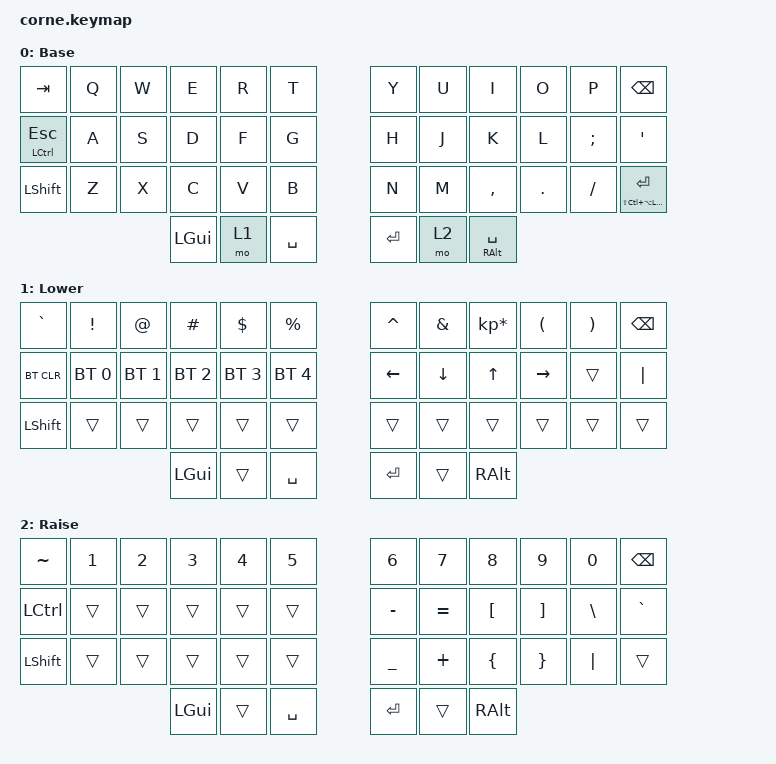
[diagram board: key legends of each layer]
/*
 * Copyright (c) 2020 The ZMK Contributors
 *
 * SPDX-License-Identifier: MIT
 */

#include <behaviors.dtsi>
#include <dt-bindings/zmk/keys.h>
#include <dt-bindings/zmk/bt.h>

#define HYP LS(LC(LA(LGUI)))

/ {
        keymap {
                compatible = "zmk,keymap";

                default_layer {
// -----------------------------------------------------------------------------------------
// |  TAB |  Q  |  W  |  E  |  R  |  T  |   |  Y  |  U   |  I  |  O  |  P  | BKSP     |
// | CTRL |  A  |  S  |  D  |  F  |  G  |   |  H  |  J   |  K  |  L  |  ;  |  '       |
// | SHFT |  Z  |  X  |  C  |  V  |  B  |   |  N  |  M   |  ,  |  .  |  /  | ENT/HYP  |
//                    | GUI | LWR | SPC |   | ENT | RSE  | ALT |
                        label = "Base";
                        bindings = <
   &kp TAB   &kp Q &kp W &kp E &kp R &kp T   &kp Y &kp U  &kp I     &kp O   &kp P    &kp BSPC
   &mt LCTRL ESC &kp A &kp S &kp D &kp F &kp G   &kp H &kp J  &kp K     &kp L   &kp SEMI &kp SQT
   &kp LSHFT &kp Z &kp X &kp C &kp V &kp B   &kp N &kp M  &kp COMMA &kp DOT &kp FSLH &mt HYP RET
                 &kp LGUI &mo 1 &kp SPACE   &kp RET &mo 2 &mt RALT SPACE
                        >;
                };
                lower_layer {
// -----------------------------------------------------------------------------------------
// |   `  |  !  |  @  |  #  |  $  |  %  |   |  ^  |  &  |  *  |  (  |  )  | BKSP |
// | BTCLR| BT1 | BT2 | BT3 | BT4 | BT5 |   | LFT | DWN |  UP | RGT |     |  "|" |
// | SHFT |     |     |     |     |     |   |     |     |     |     |     |      |
//                    | GUI |     | SPC |   | ENT |     | ALT |
                        label = "Lower";
                        bindings = <
   &kp  GRAVE  &kp EXCL &kp AT &kp HASH &kp DLLR &kp PRCNT   &kp CARET &kp AMPS  &kp KP_MULTIPLY &kp LPAR &kp RPAR &kp BSPC
   &bt BT_CLR &bt BT_SEL 0 &bt BT_SEL 1 &bt BT_SEL 2 &bt BT_SEL 3 &bt BT_SEL 4   &kp LEFT &kp DOWN &kp UP &kp RIGHT &trans &kp PIPE
   &kp LSHFT  &trans       &trans       &trans       &trans       &trans         &trans   &trans   &trans &trans    &trans &trans
                          	        &kp LGUI  &trans   &kp SPACE      &kp RET  &trans   &kp RALT
                        >;
                };

                raise_layer {
// -----------------------------------------------------------------------------------------
// |   ~  |  1  |  2  |  3  |  4  |  5  |   |  6  |  7  |  8  |  9  |  0  | BKSP |
// | CTRL |     |     |     |     |     |   |  -  |  =  |  [  |  ]  |  \  |   `  |
// | SHFT |     |     |     |     |     |   |  _  |  +  |  {  |  }  | "|" |      |
//                    | GUI |     | SPC |   | ENT |     | ALT |
                        label = "Raise";
                        bindings = <
   &kp TILDE    &kp N1       &kp N2       &kp N3       &kp N4       &kp N5         &kp N6   &kp N7   &kp N8 &kp N9    &kp N0 &kp BSPC
   &kp LCTRL &trans   &trans &trans   &trans   &trans      &kp MINUS &kp EQUAL &kp LBKT        &kp RBKT &kp BSLH &kp GRAVE
   &kp LSHFT &trans   &trans &trans   &trans   &trans      &kp UNDER &kp PLUS  &kp LBRC        &kp RBRC &kp PIPE &trans
                    	      &kp LGUI &trans &kp SPACE   &kp RET   &trans    &kp RALT
                        >;
                };
        };
};
